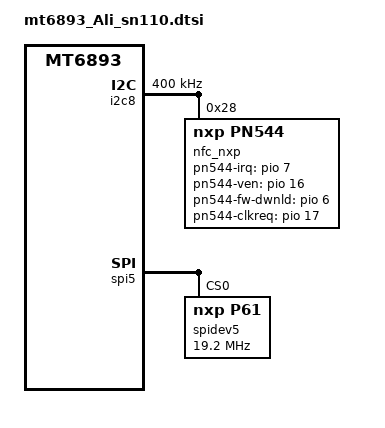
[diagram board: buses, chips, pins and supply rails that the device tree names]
/**********************************************************************************
* Copyright (c)  2008-2020  Guangdong oplus Mobile Comm Corp., Ltd
*
***********************************************************************************/
&odm {
	nfc_chipset:nfc_chipset {
		compatible = "oplus-nfc-chipset";
		chipset-21127 = "SN110T";
	};
};

&i2c8 {
       status = "okay";
       clock-frequency = <400000>;
       nfc_nxp@28 {
               compatible = "nxp,pn544";
               reg = <0x28>;
               nxp,pn544-irq = <&pio 7 0x0>;
               nxp,pn544-ven = <&pio 16 0x0>;
               nxp,pn544-fw-dwnld = <&pio 6 0x0>;
               nxp,pn544-clkreq = <&pio 17 0x0>;
               interrupt-parent = <&pio>;
       };
};


&spi5 {
       status = "okay";
       #address-cells = <1>;
       #size-cells = <0>;
       spidev5: p61@5 {
       compatible = "nxp,p61";
       reg = <0>;
       spi-max-frequency = <19200000>;
       };
};

